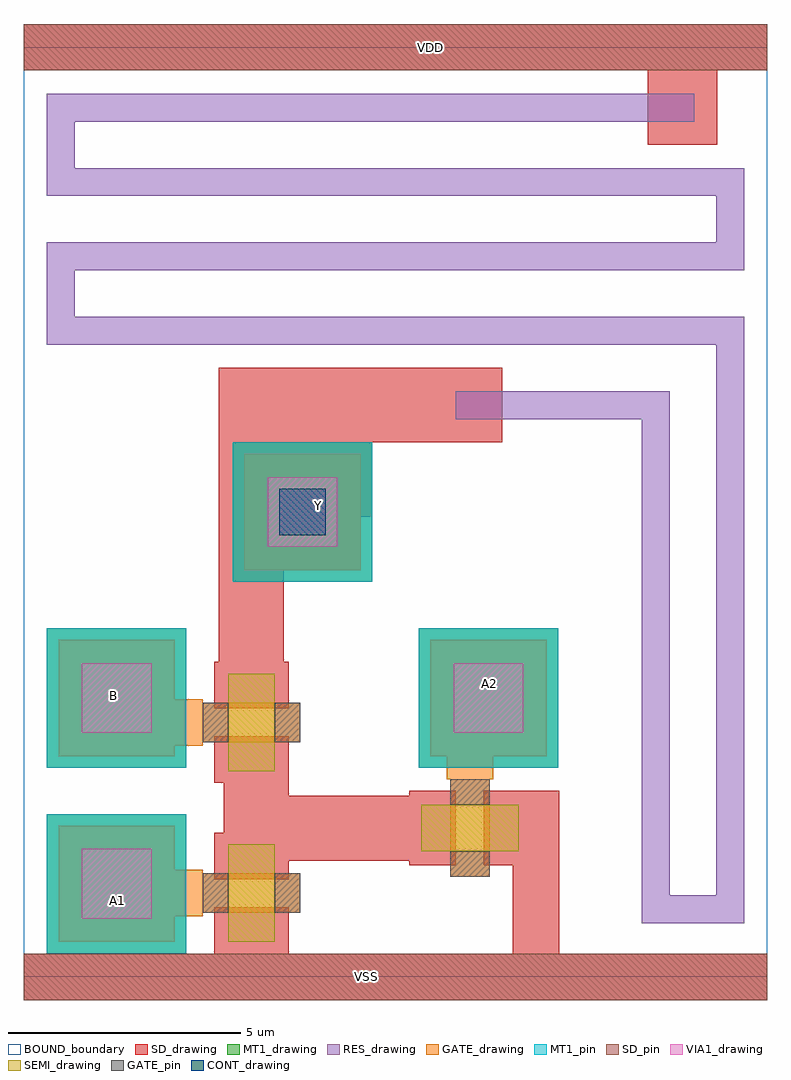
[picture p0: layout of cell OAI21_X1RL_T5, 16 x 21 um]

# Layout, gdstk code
from math import pi, radians
import gdstk
lib = gdstk.Library(unit=1e-6, precision=1e-09)
def R(c, l, rs):  # rectangles x0, y0, x1, y1
    for r in rs: c.add(gdstk.rectangle(r[:2], r[2:], *l))
def P(c, l, *ps):  # polygons
    for p in ps: c.add(gdstk.Polygon(p, *l))
RES_drawing = (1, 0)
SEMI_drawing = (3, 0)
SD_drawing = (10, 0)
SD_pin = (10, 3)
GATE_drawing = (11, 0)
GATE_pin = (11, 3)
MT1_drawing = (20, 0)
MT1_pin = (20, 3)
CONT_drawing = (30, 0)
VIA1_drawing = (41, 0)
BOUND_boundary = (150, 5)

nch_cdns_772545104390 = lib.new_cell('nch_CDNS_772545104390')
R(nch_cdns_772545104390, SEMI_drawing, [(-1.05,-0.5,1.05,0.5)])
R(nch_cdns_772545104390, SD_drawing, [(-1.3,-0.8,-0.3,0.8), (0.3,-0.8,1.3,0.8)])
R(nch_cdns_772545104390, GATE_drawing, [(-0.425,-1.05,0.425,1.05)])
R(nch_cdns_772545104390, GATE_pin, [(-0.425,-1.05,0.425,-0.5), (-0.425,0.5,0.425,1.05)])

gate_mt1_cdns_7725451043 = lib.new_cell('GATE_MT1_CDNS_772545104390')
R(gate_mt1_cdns_7725451043, GATE_drawing, [(-1.25,-1.25,1.25,1.25)])
R(gate_mt1_cdns_7725451043, MT1_drawing, [(-1.25,-1.25,1.25,1.25)])
R(gate_mt1_cdns_7725451043, VIA1_drawing, [(-0.75,-0.75,0.75,0.75)])

sd_gate_cdns_77254510439 = lib.new_cell('SD_GATE_CDNS_772545104391')
R(sd_gate_cdns_77254510439, SD_drawing, [(-1.25,-1.25,1.25,1.25)])
R(sd_gate_cdns_77254510439, GATE_drawing, [(-1.25,-1.25,1.25,1.25)])
R(sd_gate_cdns_77254510439, CONT_drawing, [(-0.5,-0.5,0.5,0.5)])

oai21_x1rl_t5 = lib.new_cell('OAI21_X1RL_T5')
R(oai21_x1rl_t5, SD_drawing, [(0,-0.5,16,0.5), (10.525,0.5,11.525,4), (4.3,3.1,5.7,4.175), (4.75,9.9,7.5,11.5), (4.2,11.5,10.3,13.1), (13.425,17.9,14.925,19.5), (0,19.5,16,20.5)])
R(oai21_x1rl_t5, SD_pin, [(0,-0.5,16,0.5), (0,19.5,16,20.5)])
P(oai21_x1rl_t5, GATE_drawing, [(10.1,4.35),(9.1,4.35),(9.1,4.25),(9.225,4.25),(9.225,4.2),(9.975,4.2),(9.975,4.25),(10.1,4.25)],
  [(3.75,2.3),(3.75,1.3),(3.85,1.3),(3.85,1.425),(3.9,1.425),(3.9,2.175),(3.85,2.175),(3.85,2.3)],
  [(3.75,5.975),(3.75,4.975),(3.85,4.975),(3.85,5.1),(3.9,5.1),(3.9,5.85),(3.85,5.85),(3.85,5.975)])
R(oai21_x1rl_t5, MT1_drawing, [(0.5,0.5,3.5,3.5), (0.5,4.5,3.5,7.5), (8.5,4.5,11.5,7.5), (4.5,8.5,7.5,11.5)])
R(oai21_x1rl_t5, MT1_pin, [(0.5,0.5,3.5,3.5), (0.5,4.5,3.5,7.5), (8.5,4.5,11.5,7.5), (4.5,8.5,7.5,11.5)])
R(oai21_x1rl_t5, BOUND_boundary, [(0,0,16,20)])
oai21_x1rl_t5.add(gdstk.FlexPath([(9.6,4.35),(9.6,5.1)], 1, ends="flush", simple_path=True, layer=11, datatype=0))  # GATE_drawing
oai21_x1rl_t5.add(gdstk.FlexPath([(3.75,5.475),(3.075,5.475)], 1, ends="flush", simple_path=True, layer=11, datatype=0))  # GATE_drawing
oai21_x1rl_t5.add(gdstk.FlexPath([(3.75,1.8),(3.15,1.8)], 1, ends="flush", simple_path=True, layer=11, datatype=0))  # GATE_drawing
oai21_x1rl_t5.add(gdstk.FlexPath([(4.9,6.775),(4.9,11.5)], 1.4, ends="flush", simple_path=True, layer=10, datatype=0))  # SD_drawing
oai21_x1rl_t5.add(gdstk.FlexPath([(5.6,3.2),(8.3,3.2)], 1.4, ends="flush", simple_path=True, layer=10, datatype=0))  # SD_drawing
oai21_x1rl_t5.add(gdstk.FlexPath([(9.3,12.3),(13.6,12.3),(13.6,1.45),(15.2,1.45),(15.2,13.9),(0.8,13.9),(0.8,15.5),(15.2,15.5),(15.2,17.1),(0.8,17.1),(0.8,18.7),(14.425,18.7)], 0.6, ends="flush", simple_path=True, layer=1, datatype=0))  # RES_drawing
oai21_x1rl_t5.add(gdstk.Reference(nch_cdns_772545104390, (9.6,3.2), rotation=pi))
oai21_x1rl_t5.add(gdstk.Reference(nch_cdns_772545104390, (4.9,5.475), rotation=pi/2))
oai21_x1rl_t5.add(gdstk.Reference(nch_cdns_772545104390, (4.9,1.8), rotation=pi/2))
oai21_x1rl_t5.add(gdstk.Reference(gate_mt1_cdns_7725451043, (10,6)))
oai21_x1rl_t5.add(gdstk.Reference(gate_mt1_cdns_7725451043, (2,2)))
oai21_x1rl_t5.add(gdstk.Reference(gate_mt1_cdns_7725451043, (6,10)))
oai21_x1rl_t5.add(gdstk.Reference(gate_mt1_cdns_7725451043, (2,6)))
oai21_x1rl_t5.add(gdstk.Reference(sd_gate_cdns_77254510439, (6,10)))
oai21_x1rl_t5.add(gdstk.Label('B', (1.925,6.05), layer=20, texttype=3))
oai21_x1rl_t5.add(gdstk.Label('A2', (10.025,6.3), layer=20, texttype=3))
oai21_x1rl_t5.add(gdstk.Label('A1', (2.025,1.65), layer=20, texttype=3))
oai21_x1rl_t5.add(gdstk.Label('Y', (6.35,10.15), layer=20, texttype=3))
oai21_x1rl_t5.add(gdstk.Label('VDD', (8.75,20), layer=10, texttype=3))
oai21_x1rl_t5.add(gdstk.Label('VSS', (7.375,0), layer=10, texttype=3))

lib.write_gds('OAI21_X1RL_T5.gds')
